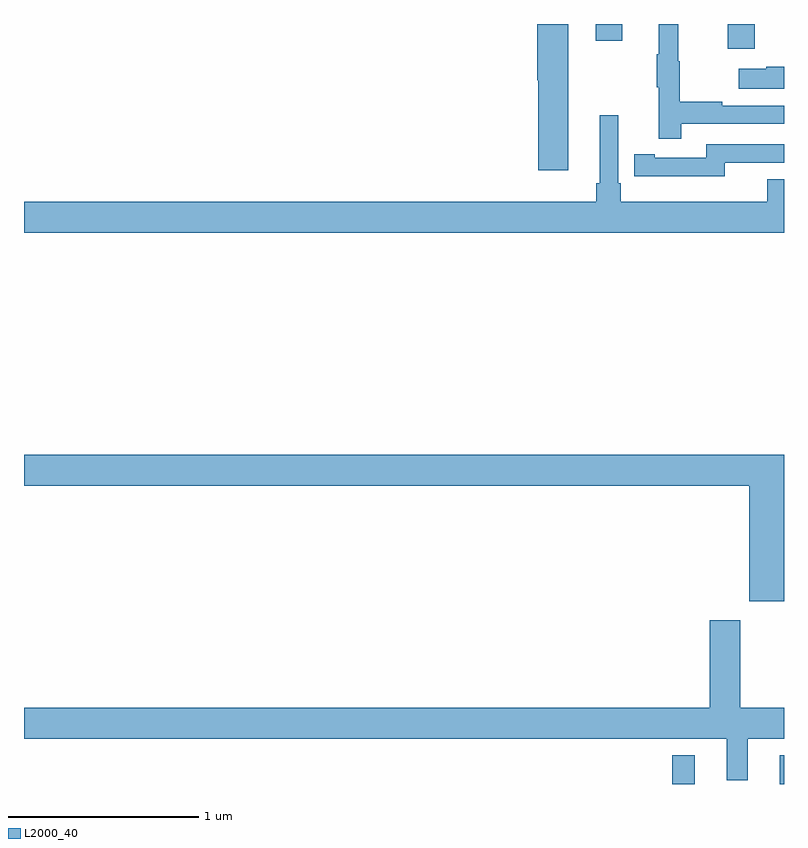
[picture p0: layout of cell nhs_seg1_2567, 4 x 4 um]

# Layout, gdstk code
import gdstk
lib = gdstk.Library(unit=1e-6, precision=1e-09)
def R(c, l, rs):  # rectangles x0, y0, x1, y1
    for r in rs: c.add(gdstk.rectangle(r[:2], r[2:], *l))
def P(c, l, *ps):  # polygons
    for p in ps: c.add(gdstk.Polygon(p, *l))
L2000_40 = (2000, 40)

nhs_seg1_2567 = lib.new_cell('nhs_seg1_2567')
R(nhs_seg1_2567, L2000_40, [(254.412,514.199,254.53,514.351), (254.978,514.199,255,514.351), (254.705,518.07,254.845,518.199), (254.009,518.112,254.149,518.199)])
P(nhs_seg1_2567, L2000_40, [(254.459,517.674),(255,517.674),(255,517.77),(254.675,517.77),(254.675,517.79),(254.452,517.79),(254.452,518.004),(254.444,518.004),(254.444,518.199),(254.342,518.199),(254.342,518.041),(254.331,518.041),(254.331,517.867),(254.342,517.867),(254.342,517.596),(254.459,517.596)],
  [(253.864,518.199),(253.7,518.199),(253.7,517.902),(253.706,517.902),(253.706,517.428),(253.864,517.428)],
  [(255,517.973),(254.906,517.973),(254.906,517.963),(254.763,517.963),(254.763,517.859),(255,517.859)],
  [(255,517.381),(254.912,517.381),(254.912,517.264),(254.141,517.264),(254.141,517.36),(254.127,517.36),(254.127,517.72),(254.03,517.72),(254.03,517.36),(254.011,517.36),(254.011,517.264),(251,517.264),(251,517.1),(255,517.1)],
  [(254.688,517.47),(255,517.47),(255,517.566),(254.592,517.566),(254.592,517.494),(254.32,517.494),(254.32,517.514),(254.212,517.514),(254.212,517.398),(254.32,517.398),(254.32,517.397),(254.688,517.397)],
  [(255,515.932),(251,515.932),(251,515.768),(254.816,515.768),(254.816,515.162),(255,515.162)],
  [(254.809,514.436),(255,514.436),(255,514.6),(254.769,514.6),(254.769,515.062),(254.609,515.062),(254.609,514.6),(251,514.6),(251,514.436),(254.699,514.436),(254.699,514.218),(254.809,514.218)])

lib.write_gds('nhs_seg1_2567.gds')
